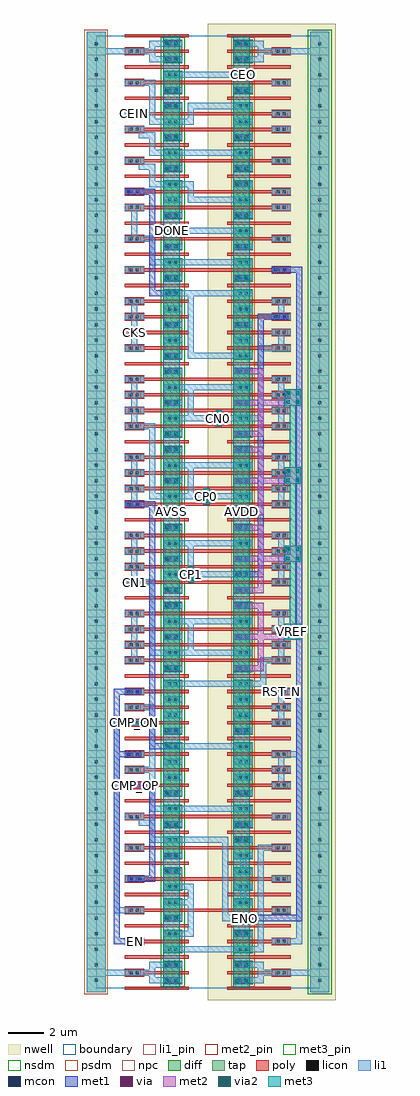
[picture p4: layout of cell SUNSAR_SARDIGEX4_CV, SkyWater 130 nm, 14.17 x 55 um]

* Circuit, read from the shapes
.subckt SUNSAR_SARDIGEX4_CV AVDD AVSS CEIN CEO CKS CMP_ON CMP_OP CN0 CN1 CP0 CP1 DONE EN ENO RST_N VREF
XM1 AVSS AVSS AVSS AVSS sky130_fd_pr__nfet_01v8 w=1.08 l=0.18 m=2
XM2 SUNSAR_SARMRYX1_CV_29/SUNSAR_SAREMX1_CV_8/SUNSAR_NCHDL_11/D EN SUNSAR_SARMRYX1_CV_29/SUNSAR_SAREMX1_CV_8/SUNSAR_NCHDL_9/G AVSS sky130_fd_pr__nfet_01v8 w=1.08 l=0.18
XM3 SUNSAR_SARMRYX1_CV_29/SUNSAR_SAREMX1_CV_8/SUNSAR_NCHDL_11/D CMP_ON AVSS AVSS sky130_fd_pr__nfet_01v8 w=1.08 l=0.18
XM4 AVSS CMP_OP SUNSAR_SARMRYX1_CV_29/SUNSAR_SAREMX1_CV_8/SUNSAR_NCHDL_11/D AVSS sky130_fd_pr__nfet_01v8 w=1.08 l=0.18
XM5 ENO SUNSAR_SARMRYX1_CV_29/SUNSAR_SAREMX1_CV_8/SUNSAR_NCHDL_9/G AVSS AVSS sky130_fd_pr__nfet_01v8 w=1.08 l=0.18
XM6 SUNSAR_SARMRYX1_CV_29/SUNSAR_SARLTX1_CV_5/LCK_N ENO AVSS AVSS sky130_fd_pr__nfet_01v8 w=1.08 l=0.18
XM7 SUNSAR_SARMRYX1_CV_29/SUNSAR_SARLTX1_CV_6/SUNSAR_NCHDL_7/D CMP_OP AVSS AVSS sky130_fd_pr__nfet_01v8 w=1.08 l=0.18
XM8 SUNSAR_SARMRYX1_CV_29/SUNSAR_SARLTX1_CV_6/SUNSAR_NCHDL_6/D SUNSAR_SARMRYX1_CV_29/SUNSAR_SARLTX1_CV_5/LCK_N SUNSAR_SARMRYX1_CV_29/SUNSAR_SARLTX1_CV_6/SUNSAR_NCHDL_7/D AVSS sky130_fd_pr__nfet_01v8 w=1.08 l=0.18
XM9 SUNSAR_SWX4_CV_26/A EN SUNSAR_SARMRYX1_CV_29/SUNSAR_SARLTX1_CV_6/SUNSAR_NCHDL_6/D AVSS sky130_fd_pr__nfet_01v8 w=1.08 l=0.18
XM10 SUNSAR_SARMRYX1_CV_29/SUNSAR_SARLTX1_CV_5/SUNSAR_NCHDL_7/D CMP_ON AVSS AVSS sky130_fd_pr__nfet_01v8 w=1.08 l=0.18
XM11 SUNSAR_SARMRYX1_CV_29/SUNSAR_SARLTX1_CV_5/SUNSAR_NCHDL_6/D SUNSAR_SARMRYX1_CV_29/SUNSAR_SARLTX1_CV_5/LCK_N SUNSAR_SARMRYX1_CV_29/SUNSAR_SARLTX1_CV_5/SUNSAR_NCHDL_7/D AVSS sky130_fd_pr__nfet_01v8 w=1.08 l=0.18
XM12 SUNSAR_SWX4_CV_28/A EN SUNSAR_SARMRYX1_CV_29/SUNSAR_SARLTX1_CV_5/SUNSAR_NCHDL_6/D AVSS sky130_fd_pr__nfet_01v8 w=1.08 l=0.18
XM13 CN1 SUNSAR_SWX4_CV_28/A AVSS AVSS sky130_fd_pr__nfet_01v8 w=1.08 l=0.18 m=4
XM14 CP1 CN1 AVSS AVSS sky130_fd_pr__nfet_01v8 w=1.08 l=0.18 m=4
XM15 CP0 SUNSAR_SWX4_CV_26/A AVSS AVSS sky130_fd_pr__nfet_01v8 w=1.08 l=0.18 m=4
XM16 CN0 CP0 AVSS AVSS sky130_fd_pr__nfet_01v8 w=1.08 l=0.18 m=4
XM17 SUNSAR_SARCEX1_CV_24/SUNSAR_NCHDL_12/D CKS AVSS AVSS sky130_fd_pr__nfet_01v8 w=1.08 l=0.18 m=2
XM18 SUNSAR_SARCEX1_CV_24/SUNSAR_NCHDL_10/D CKS AVSS AVSS sky130_fd_pr__nfet_01v8 w=1.08 l=0.18
XM19 SUNSAR_NDX1_CV_21/B CKS SUNSAR_SARCEX1_CV_24/SUNSAR_NCHDL_10/D AVSS sky130_fd_pr__nfet_01v8 w=1.08 l=0.18
XM20 SUNSAR_IVX1_CV_22/A ENO AVSS AVSS sky130_fd_pr__nfet_01v8 w=1.08 l=0.18
XM21 DONE SUNSAR_IVX1_CV_22/A AVSS AVSS sky130_fd_pr__nfet_01v8 w=1.08 l=0.18
XM22 SUNSAR_NDX1_CV_21/SUNSAR_NCHDL_6/D SUNSAR_IVX1_CV_22/A AVSS AVSS sky130_fd_pr__nfet_01v8 w=1.08 l=0.18
XM23 SUNSAR_IVX1_CV_20/A SUNSAR_NDX1_CV_21/B SUNSAR_NDX1_CV_21/SUNSAR_NCHDL_6/D AVSS sky130_fd_pr__nfet_01v8 w=1.08 l=0.18
XM24 SUNSAR_NRX1_CV_19/A SUNSAR_IVX1_CV_20/A AVSS AVSS sky130_fd_pr__nfet_01v8 w=1.08 l=0.18
XM25 SUNSAR_IVX1_CV_18/A SUNSAR_NRX1_CV_19/A AVSS AVSS sky130_fd_pr__nfet_01v8 w=1.08 l=0.18
XM26 AVSS CEIN SUNSAR_IVX1_CV_18/A AVSS sky130_fd_pr__nfet_01v8 w=1.08 l=0.18
XM27 CEO SUNSAR_IVX1_CV_18/A AVSS AVSS sky130_fd_pr__nfet_01v8 w=1.08 l=0.18
XM28 AVDD AVDD AVDD AVDD sky130_fd_pr__pfet_01v8 w=1.08 l=0.18 m=2
XM29 AVDD RST_N SUNSAR_SARMRYX1_CV_29/SUNSAR_SAREMX1_CV_8/SUNSAR_NCHDL_9/G AVDD sky130_fd_pr__pfet_01v8 w=1.08 l=0.18
XM30 SUNSAR_SARMRYX1_CV_29/SUNSAR_SAREMX1_CV_8/SUNSAR_PCHDL_7/D CMP_ON ENO AVDD sky130_fd_pr__pfet_01v8 w=1.08 l=0.18
XM31 SUNSAR_SARMRYX1_CV_29/SUNSAR_SAREMX1_CV_8/SUNSAR_PCHDL_6/D CMP_OP SUNSAR_SARMRYX1_CV_29/SUNSAR_SAREMX1_CV_8/SUNSAR_PCHDL_7/D AVDD sky130_fd_pr__pfet_01v8 w=1.08 l=0.18
XM32 AVDD SUNSAR_SARMRYX1_CV_29/SUNSAR_SAREMX1_CV_8/SUNSAR_NCHDL_9/G SUNSAR_SARMRYX1_CV_29/SUNSAR_SAREMX1_CV_8/SUNSAR_PCHDL_6/D AVDD sky130_fd_pr__pfet_01v8 w=1.08 l=0.18
XM33 SUNSAR_SARMRYX1_CV_29/SUNSAR_SARLTX1_CV_5/LCK_N ENO AVDD AVDD sky130_fd_pr__pfet_01v8 w=1.08 l=0.18
XM34 SUNSAR_SARMRYX1_CV_29/SUNSAR_SARLTX1_CV_6/SUNSAR_PCHDL_4/D RST_N AVDD AVDD sky130_fd_pr__pfet_01v8 w=1.08 l=0.18
XM35 SUNSAR_SARMRYX1_CV_29/SUNSAR_SARLTX1_CV_6/SUNSAR_PCHDL_3/D RST_N SUNSAR_SARMRYX1_CV_29/SUNSAR_SARLTX1_CV_6/SUNSAR_PCHDL_4/D AVDD sky130_fd_pr__pfet_01v8 w=1.08 l=0.18
XM36 SUNSAR_SWX4_CV_26/A RST_N SUNSAR_SARMRYX1_CV_29/SUNSAR_SARLTX1_CV_6/SUNSAR_PCHDL_3/D AVDD sky130_fd_pr__pfet_01v8 w=1.08 l=0.18
XM37 SUNSAR_SARMRYX1_CV_29/SUNSAR_SARLTX1_CV_5/SUNSAR_PCHDL_4/D RST_N AVDD AVDD sky130_fd_pr__pfet_01v8 w=1.08 l=0.18
XM38 SUNSAR_SARMRYX1_CV_29/SUNSAR_SARLTX1_CV_5/SUNSAR_PCHDL_3/D RST_N SUNSAR_SARMRYX1_CV_29/SUNSAR_SARLTX1_CV_5/SUNSAR_PCHDL_4/D AVDD sky130_fd_pr__pfet_01v8 w=1.08 l=0.18
XM39 SUNSAR_SWX4_CV_28/A RST_N SUNSAR_SARMRYX1_CV_29/SUNSAR_SARLTX1_CV_5/SUNSAR_PCHDL_3/D AVDD sky130_fd_pr__pfet_01v8 w=1.08 l=0.18
XM40 CN1 SUNSAR_SWX4_CV_28/A VREF AVDD sky130_fd_pr__pfet_01v8 w=1.08 l=0.18 m=4
XM41 CP1 CN1 VREF AVDD sky130_fd_pr__pfet_01v8 w=1.08 l=0.18 m=4
XM42 CP0 SUNSAR_SWX4_CV_26/A VREF AVDD sky130_fd_pr__pfet_01v8 w=1.08 l=0.18 m=4
XM43 CN0 CP0 VREF AVDD sky130_fd_pr__pfet_01v8 w=1.08 l=0.18 m=4
XM44 SUNSAR_SARCEX1_CV_24/SUNSAR_PCHDL_8/D CN0 SUNSAR_NDX1_CV_21/B AVDD sky130_fd_pr__pfet_01v8 w=1.08 l=0.18
XM45 AVDD CN0 SUNSAR_SARCEX1_CV_24/SUNSAR_PCHDL_8/D AVDD sky130_fd_pr__pfet_01v8 w=1.08 l=0.18
XM46 SUNSAR_SARCEX1_CV_24/SUNSAR_PCHDL_6/D CP1 AVDD AVDD sky130_fd_pr__pfet_01v8 w=1.08 l=0.18
XM47 SUNSAR_NDX1_CV_21/B CP1 SUNSAR_SARCEX1_CV_24/SUNSAR_PCHDL_6/D AVDD sky130_fd_pr__pfet_01v8 w=1.08 l=0.18
XM48 SUNSAR_IVX1_CV_22/A ENO AVDD AVDD sky130_fd_pr__pfet_01v8 w=1.08 l=0.18
XM49 DONE SUNSAR_IVX1_CV_22/A AVDD AVDD sky130_fd_pr__pfet_01v8 w=1.08 l=0.18
XM50 SUNSAR_IVX1_CV_20/A SUNSAR_IVX1_CV_22/A AVDD AVDD sky130_fd_pr__pfet_01v8 w=1.08 l=0.18
XM51 AVDD SUNSAR_NDX1_CV_21/B SUNSAR_IVX1_CV_20/A AVDD sky130_fd_pr__pfet_01v8 w=1.08 l=0.18
XM52 SUNSAR_NRX1_CV_19/A SUNSAR_IVX1_CV_20/A AVDD AVDD sky130_fd_pr__pfet_01v8 w=1.08 l=0.18
XM53 SUNSAR_NRX1_CV_19/SUNSAR_PCHDL_4/D SUNSAR_NRX1_CV_19/A AVDD AVDD sky130_fd_pr__pfet_01v8 w=1.08 l=0.18
XM54 SUNSAR_IVX1_CV_18/A CEIN SUNSAR_NRX1_CV_19/SUNSAR_PCHDL_4/D AVDD sky130_fd_pr__pfet_01v8 w=1.08 l=0.18
XM55 CEO SUNSAR_IVX1_CV_18/A AVDD AVDD sky130_fd_pr__pfet_01v8 w=1.08 l=0.18
.ends

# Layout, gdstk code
import gdstk
lib = gdstk.Library(unit=1e-6, precision=1e-09)
def R(c, l, rs):  # rectangles x0, y0, x1, y1
    for r in rs: c.add(gdstk.rectangle(r[:2], r[2:], *l))
def A(c, l, x, y, w, h, nx, ny, dx, dy):  # array of equal rectangles
    R(c, l, [(x+i*dx, y+j*dy, x+i*dx+w, y+j*dy+h) for i in range(nx) for j in range(ny)])
nwell = (64, 20)
diff = (65, 20)
tap = (65, 44)
poly = (66, 20)
licon = (66, 44)
li1_pin = (67, 16)
li1 = (67, 20)
mcon = (67, 44)
met1 = (68, 20)
via = (68, 44)
met2_pin = (69, 16)
met2 = (69, 20)
via2 = (69, 44)
met3_pin = (70, 16)
met3 = (70, 20)
nsdm = (93, 44)
psdm = (94, 20)
npc = (95, 20)
boundary = (235, 4)

sunsar_cut_m2m3_2x1 = lib.new_cell('SUNSAR_cut_M2M3_2x1')
R(sunsar_cut_m2m3_2x1, met1, [(0,0,0.92,0.34)])
R(sunsar_cut_m2m3_2x1, via, [(0.125,0.095,0.275,0.245), (0.645,0.095,0.795,0.245)])
R(sunsar_cut_m2m3_2x1, met2, [(0,0,0.92,0.34)])
R(sunsar_cut_m2m3_2x1, boundary, [(0,0,0.92,0.34)])

sunsar_cut_m1m4_1x2 = lib.new_cell('SUNSAR_cut_M1M4_1x2')
R(sunsar_cut_m1m4_1x2, li1, [(0,0,0.34,0.92)])
R(sunsar_cut_m1m4_1x2, mcon, [(0.085,0.115,0.255,0.285), (0.085,0.635,0.255,0.805)])
R(sunsar_cut_m1m4_1x2, met1, [(0,0,0.34,0.92)])
R(sunsar_cut_m1m4_1x2, via, [(0.095,0.125,0.245,0.275), (0.095,0.645,0.245,0.795)])
R(sunsar_cut_m1m4_1x2, met2, [(0,0,0.34,0.92)])
R(sunsar_cut_m1m4_1x2, via2, [(0.07,0.1,0.27,0.3), (0.07,0.62,0.27,0.82)])
R(sunsar_cut_m1m4_1x2, met3, [(0,0,0.34,0.92)])
R(sunsar_cut_m1m4_1x2, boundary, [(0,0,0.34,0.92)])

sunsar_cut_m1m4_2x1 = lib.new_cell('SUNSAR_cut_M1M4_2x1')
R(sunsar_cut_m1m4_2x1, li1, [(0,0,0.92,0.34)])
R(sunsar_cut_m1m4_2x1, mcon, [(0.115,0.085,0.285,0.255), (0.635,0.085,0.805,0.255)])
R(sunsar_cut_m1m4_2x1, met1, [(0,0,0.92,0.34)])
R(sunsar_cut_m1m4_2x1, via, [(0.125,0.095,0.275,0.245), (0.645,0.095,0.795,0.245)])
R(sunsar_cut_m1m4_2x1, met2, [(0,0,0.92,0.34)])
R(sunsar_cut_m1m4_2x1, via2, [(0.1,0.07,0.3,0.27), (0.62,0.07,0.82,0.27)])
R(sunsar_cut_m1m4_2x1, met3, [(0,0,0.92,0.34)])
R(sunsar_cut_m1m4_2x1, boundary, [(0,0,0.92,0.34)])

sunsar_cut_m1m2_2x1 = lib.new_cell('SUNSAR_cut_M1M2_2x1')
R(sunsar_cut_m1m2_2x1, li1, [(0,0,0.92,0.34)])
R(sunsar_cut_m1m2_2x1, mcon, [(0.115,0.085,0.285,0.255), (0.635,0.085,0.805,0.255)])
R(sunsar_cut_m1m2_2x1, met1, [(0,0,0.92,0.34)])
R(sunsar_cut_m1m2_2x1, boundary, [(0,0,0.92,0.34)])

sunsar_pchdl = lib.new_cell('SUNSAR_PCHDL')
R(sunsar_pchdl, nwell, [(0,-0.66,7.2,2.42)])
R(sunsar_pchdl, diff, [(1.44,0.22,2.52,1.54)])
R(sunsar_pchdl, tap, [(5.76,-0.22,6.84,1.98)])
A(sunsar_pchdl, poly, 1.08, -0.09, 3.6, 0.18, 1, 3, 0, 0.88)
R(sunsar_pchdl, poly, [(3.6,0.66,4.68,0.79), (3.6,0.97,4.68,1.1)])
R(sunsar_pchdl, licon, [(1.725,0.355,1.895,0.525), (2.065,0.355,2.235,0.525), (6.215,0.355,6.385,0.525), (3.885,0.795,4.055,0.965), (4.225,0.795,4.395,0.965), (1.725,1.235,1.895,1.405), (2.065,1.235,2.235,1.405), (6.215,1.235,6.385,1.405)])
R(sunsar_pchdl, li1_pin, [(1.44,0.27,2.52,0.61), (5.76,0.66,6.84,1.1), (3.6,0.71,4.68,1.05), (1.44,1.15,2.52,1.49)])
R(sunsar_pchdl, li1, [(5.76,-0.22,6.84,1.98), (1.44,0.27,2.52,0.61), (3.6,0.71,4.68,1.05), (1.44,1.15,2.52,1.49)])
R(sunsar_pchdl, nsdm, [(5.635,-0.345,6.965,2.105)])
R(sunsar_pchdl, psdm, [(1.315,0.095,2.645,1.665)])
R(sunsar_pchdl, npc, [(3.785,0.695,4.495,1.065)])
R(sunsar_pchdl, boundary, [(0,0,6.3,1.76)])
sunsar_pchdl.add(gdstk.Label('D', (1.98,1.32), layer=67, texttype=5))
sunsar_pchdl.add(gdstk.Label('G', (4.14,0.88), layer=67, texttype=5))
sunsar_pchdl.add(gdstk.Label('S', (1.98,0.44), layer=67, texttype=5))
sunsar_pchdl.add(gdstk.Label('B', (6.3,0.88), layer=67, texttype=5))

sunsar_nchdl = lib.new_cell('SUNSAR_NCHDL')
R(sunsar_nchdl, diff, [(3.78,0.22,4.86,1.54)])
R(sunsar_nchdl, tap, [(-0.54,-0.22,0.54,1.98)])
A(sunsar_nchdl, poly, 1.62, -0.09, 3.6, 0.18, 1, 3, 0, 0.88)
R(sunsar_nchdl, poly, [(1.62,0.66,2.7,0.79), (1.62,0.97,2.7,1.1)])
R(sunsar_nchdl, licon, [(-0.085,0.355,0.085,0.525), (4.065,0.355,4.235,0.525), (4.405,0.355,4.575,0.525), (1.905,0.795,2.075,0.965), (2.245,0.795,2.415,0.965), (-0.085,1.235,0.085,1.405), (4.065,1.235,4.235,1.405), (4.405,1.235,4.575,1.405)])
R(sunsar_nchdl, li1_pin, [(3.78,0.27,4.86,0.61), (-0.54,0.66,0.54,1.1), (1.62,0.71,2.7,1.05), (3.78,1.15,4.86,1.49)])
R(sunsar_nchdl, li1, [(-0.54,-0.22,0.54,1.98), (3.78,0.27,4.86,0.61), (1.62,0.71,2.7,1.05), (3.78,1.15,4.86,1.49)])
R(sunsar_nchdl, nsdm, [(3.655,0.095,4.985,1.665)])
R(sunsar_nchdl, psdm, [(-0.665,-0.345,0.665,2.105)])
R(sunsar_nchdl, npc, [(1.805,0.695,2.515,1.065)])
R(sunsar_nchdl, boundary, [(0,0,6.3,1.76)])
sunsar_nchdl.add(gdstk.Label('D', (4.32,1.32), layer=67, texttype=5))
sunsar_nchdl.add(gdstk.Label('G', (2.16,0.88), layer=67, texttype=5))
sunsar_nchdl.add(gdstk.Label('S', (4.32,0.44), layer=67, texttype=5))
sunsar_nchdl.add(gdstk.Label('B', (0,0.88), layer=67, texttype=5))

sunsar_tapcellb_cv = lib.new_cell('SUNSAR_TAPCELLB_CV')
R(sunsar_tapcellb_cv, li1, [(3,0.27,4.32,0.61), (8.28,0.27,9.46,0.61), (3,0.61,3.34,0.71), (9.12,0.61,9.46,0.71), (-0.54,0.71,3.34,1.05), (9.12,0.71,13.14,1.05), (3,1.05,3.34,1.15), (9.12,1.05,9.46,1.15), (3,1.15,4.32,1.49), (8.28,1.15,9.46,1.49)])
R(sunsar_tapcellb_cv, met3_pin, [(3.78,0,4.7,1.76), (7.74,0,8.66,1.76)])
R(sunsar_tapcellb_cv, met3, [(3.78,0,4.7,1.76), (7.74,0,8.66,1.76)])
R(sunsar_tapcellb_cv, boundary, [(0,0,12.6,1.76)])
sunsar_tapcellb_cv.add(gdstk.Reference(sunsar_cut_m1m4_2x1, (3.78,0.27)))
sunsar_tapcellb_cv.add(gdstk.Reference(sunsar_cut_m1m4_2x1, (3.78,1.15)))
sunsar_tapcellb_cv.add(gdstk.Reference(sunsar_cut_m1m4_2x1, (7.74,0.27)))
sunsar_tapcellb_cv.add(gdstk.Reference(sunsar_cut_m1m4_2x1, (7.74,1.15)))
sunsar_tapcellb_cv.add(gdstk.Reference(sunsar_pchdl, (6.3,0)))
sunsar_tapcellb_cv.add(gdstk.Reference(sunsar_nchdl, (0,0)))
sunsar_tapcellb_cv.add(gdstk.Label('AVDD', (8.2,0.88), layer=70, texttype=5))
sunsar_tapcellb_cv.add(gdstk.Label('AVSS', (4.24,0.88), layer=70, texttype=5))

sunsar_ivx1_cv = lib.new_cell('SUNSAR_IVX1_CV')
R(sunsar_ivx1_cv, poly, [(1.62,0.79,10.98,0.97)])
R(sunsar_ivx1_cv, li1_pin, [(-0.54,0.66,0.54,1.1), (12.06,0.66,13.14,1.1), (1.62,0.71,2.7,1.05), (3.78,1.15,4.86,1.49)])
R(sunsar_ivx1_cv, li1, [(-0.54,0.66,0.54,1.1), (12.06,0.66,13.14,1.1), (1.62,0.71,2.7,1.05), (3.78,1.15,8.28,1.49)])
R(sunsar_ivx1_cv, met3_pin, [(3.78,0,4.7,1.76), (7.74,0,8.66,1.76)])
R(sunsar_ivx1_cv, met3, [(3.78,0,4.7,1.76), (7.74,0,8.66,1.76)])
R(sunsar_ivx1_cv, boundary, [(0,0,12.6,1.76)])
sunsar_ivx1_cv.add(gdstk.Reference(sunsar_cut_m1m4_2x1, (3.78,0.27)))
sunsar_ivx1_cv.add(gdstk.Reference(sunsar_cut_m1m4_2x1, (7.74,0.27)))
sunsar_ivx1_cv.add(gdstk.Reference(sunsar_pchdl, (6.3,0)))
sunsar_ivx1_cv.add(gdstk.Reference(sunsar_nchdl, (0,0)))
sunsar_ivx1_cv.add(gdstk.Label('A', (2.16,0.88), layer=67, texttype=5))
sunsar_ivx1_cv.add(gdstk.Label('Y', (4.32,1.32), layer=67, texttype=5))
sunsar_ivx1_cv.add(gdstk.Label('BULKP', (12.6,0.88), layer=67, texttype=5))
sunsar_ivx1_cv.add(gdstk.Label('BULKN', (0,0.88), layer=67, texttype=5))
sunsar_ivx1_cv.add(gdstk.Label('AVDD', (8.2,0.88), layer=70, texttype=5))
sunsar_ivx1_cv.add(gdstk.Label('AVSS', (4.24,0.88), layer=70, texttype=5))

sunsar_nrx1_cv = lib.new_cell('SUNSAR_NRX1_CV')
R(sunsar_nrx1_cv, poly, [(1.62,0.79,10.98,0.97), (1.62,1.67,10.98,1.85)])
R(sunsar_nrx1_cv, li1_pin, [(-0.54,0.66,0.54,1.1), (12.06,0.66,13.14,1.1), (1.62,0.71,2.7,1.05), (3.78,1.15,4.86,1.49), (1.62,1.59,2.7,1.93)])
R(sunsar_nrx1_cv, li1, [(-0.54,0.66,0.54,1.1), (12.06,0.66,13.14,1.1), (1.62,0.71,2.7,1.05), (3.78,1.15,5.5,1.49), (8.11,1.15,8.45,1.49), (5.16,1.49,5.5,2.03), (1.62,1.59,2.7,1.93), (5.16,2.03,8.28,2.37)])
R(sunsar_nrx1_cv, met3_pin, [(3.78,0,4.7,2.64), (7.74,0,8.66,2.64)])
R(sunsar_nrx1_cv, met3, [(3.78,0,4.7,2.64), (7.74,0,8.66,2.64)])
R(sunsar_nrx1_cv, boundary, [(0,0,12.6,2.64)])
sunsar_nrx1_cv.add(gdstk.Reference(sunsar_cut_m1m4_2x1, (3.78,2.03)))
sunsar_nrx1_cv.add(gdstk.Reference(sunsar_cut_m1m4_2x1, (3.78,0.27)))
sunsar_nrx1_cv.add(gdstk.Reference(sunsar_cut_m1m4_2x1, (7.74,0.27)))
sunsar_nrx1_cv.add(gdstk.Reference(sunsar_pchdl, (6.3,0.88)))
sunsar_nrx1_cv.add(gdstk.Reference(sunsar_pchdl, (6.3,0)))
sunsar_nrx1_cv.add(gdstk.Reference(sunsar_nchdl, (0,0.88)))
sunsar_nrx1_cv.add(gdstk.Reference(sunsar_nchdl, (0,0)))
sunsar_nrx1_cv.add(gdstk.Label('A', (2.16,0.88), layer=67, texttype=5))
sunsar_nrx1_cv.add(gdstk.Label('B', (2.16,1.76), layer=67, texttype=5))
sunsar_nrx1_cv.add(gdstk.Label('Y', (4.32,1.32), layer=67, texttype=5))
sunsar_nrx1_cv.add(gdstk.Label('BULKP', (12.6,0.88), layer=67, texttype=5))
sunsar_nrx1_cv.add(gdstk.Label('BULKN', (0,0.88), layer=67, texttype=5))
sunsar_nrx1_cv.add(gdstk.Label('AVDD', (8.2,1.32), layer=70, texttype=5))
sunsar_nrx1_cv.add(gdstk.Label('AVSS', (4.24,1.32), layer=70, texttype=5))

sunsar_ndx1_cv = lib.new_cell('SUNSAR_NDX1_CV')
R(sunsar_ndx1_cv, poly, [(1.62,0.79,10.98,0.97), (1.62,1.67,10.98,1.85)])
R(sunsar_ndx1_cv, li1_pin, [(-0.54,0.66,0.54,1.1), (12.06,0.66,13.14,1.1), (1.62,0.71,2.7,1.05), (1.62,1.59,2.7,1.93), (3.78,2.03,4.86,2.37)])
R(sunsar_ndx1_cv, li1, [(-0.54,0.66,0.54,1.1), (12.06,0.66,13.14,1.1), (1.62,0.71,2.7,1.05), (4.15,1.15,4.49,1.49), (5.16,1.15,8.28,1.49), (5.16,1.49,5.5,2.03), (1.62,1.59,2.7,1.93), (3.78,2.03,5.5,2.37)])
R(sunsar_ndx1_cv, met3_pin, [(3.78,0,4.7,2.64), (7.74,0,8.66,2.64)])
R(sunsar_ndx1_cv, met3, [(3.78,0,4.7,2.64), (7.74,0,8.66,2.64)])
R(sunsar_ndx1_cv, boundary, [(0,0,12.6,2.64)])
sunsar_ndx1_cv.add(gdstk.Reference(sunsar_cut_m1m4_2x1, (3.78,0.27)))
sunsar_ndx1_cv.add(gdstk.Reference(sunsar_cut_m1m4_2x1, (7.74,2.03)))
sunsar_ndx1_cv.add(gdstk.Reference(sunsar_cut_m1m4_2x1, (7.74,0.27)))
sunsar_ndx1_cv.add(gdstk.Reference(sunsar_pchdl, (6.3,0.88)))
sunsar_ndx1_cv.add(gdstk.Reference(sunsar_pchdl, (6.3,0)))
sunsar_ndx1_cv.add(gdstk.Reference(sunsar_nchdl, (0,0.88)))
sunsar_ndx1_cv.add(gdstk.Reference(sunsar_nchdl, (0,0)))
sunsar_ndx1_cv.add(gdstk.Label('A', (2.16,0.88), layer=67, texttype=5))
sunsar_ndx1_cv.add(gdstk.Label('B', (2.16,1.76), layer=67, texttype=5))
sunsar_ndx1_cv.add(gdstk.Label('Y', (4.32,2.2), layer=67, texttype=5))
sunsar_ndx1_cv.add(gdstk.Label('BULKP', (12.6,0.88), layer=67, texttype=5))
sunsar_ndx1_cv.add(gdstk.Label('BULKN', (0,0.88), layer=67, texttype=5))
sunsar_ndx1_cv.add(gdstk.Label('AVDD', (8.2,1.32), layer=70, texttype=5))
sunsar_ndx1_cv.add(gdstk.Label('AVSS', (4.24,1.32), layer=70, texttype=5))

sunsar_sarcex1_cv = lib.new_cell('SUNSAR_SARCEX1_CV')
R(sunsar_sarcex1_cv, li1_pin, [(-0.54,0.66,0.54,1.1), (12.06,0.66,13.14,1.1), (9.9,0.71,10.98,1.05), (1.62,1.59,2.7,1.93), (9.9,2.47,10.98,2.81), (3.78,3.79,4.86,4.13)])
A(sunsar_sarcex1_cv, li1, 4.15, 1.15, 0.34, 0.34, 1, 3, 0, 0.88)
A(sunsar_sarcex1_cv, li1, 8.11, 1.15, 0.34, 0.34, 1, 3, 0, 0.88)
R(sunsar_sarcex1_cv, li1, [(5.16,0.27,8.28,0.61), (5.16,0.61,5.5,3.79), (-0.54,0.66,0.54,1.1), (12.06,0.66,13.14,1.1), (1.99,0.71,2.33,1.59), (9.9,0.71,10.98,1.05), (10.27,1.05,10.61,1.93), (1.62,1.59,2.7,1.93), (1.99,1.93,2.33,3.69), (9.9,2.47,10.98,2.81), (10.27,2.81,10.61,3.69), (3.78,3.79,8.28,4.13)])
R(sunsar_sarcex1_cv, met3_pin, [(3.78,0,4.7,4.4), (7.74,0,8.66,4.4)])
R(sunsar_sarcex1_cv, met3, [(3.78,0,4.7,4.4), (7.74,0,8.66,4.4)])
R(sunsar_sarcex1_cv, boundary, [(0,0,12.6,4.4)])
sunsar_sarcex1_cv.add(gdstk.Reference(sunsar_cut_m1m4_2x1, (3.78,2.03)))
sunsar_sarcex1_cv.add(gdstk.Reference(sunsar_cut_m1m4_2x1, (3.78,2.03)))
sunsar_sarcex1_cv.add(gdstk.Reference(sunsar_cut_m1m4_2x1, (3.78,0.27)))
sunsar_sarcex1_cv.add(gdstk.Reference(sunsar_cut_m1m4_2x1, (7.74,2.03)))
sunsar_sarcex1_cv.add(gdstk.Reference(sunsar_cut_m1m4_2x1, (7.74,2.03)))
sunsar_sarcex1_cv.add(gdstk.Reference(sunsar_pchdl, (6.3,2.64)))
sunsar_sarcex1_cv.add(gdstk.Reference(sunsar_pchdl, (6.3,1.76)))
sunsar_sarcex1_cv.add(gdstk.Reference(sunsar_pchdl, (6.3,0.88)))
sunsar_sarcex1_cv.add(gdstk.Reference(sunsar_pchdl, (6.3,0)))
sunsar_sarcex1_cv.add(gdstk.Reference(sunsar_nchdl, (0,2.64)))
sunsar_sarcex1_cv.add(gdstk.Reference(sunsar_nchdl, (0,1.76)))
sunsar_sarcex1_cv.add(gdstk.Reference(sunsar_nchdl, (0,0.88)))
sunsar_sarcex1_cv.add(gdstk.Reference(sunsar_nchdl, (0,0)))
sunsar_sarcex1_cv.add(gdstk.Label('A', (10.44,0.88), layer=67, texttype=5))
sunsar_sarcex1_cv.add(gdstk.Label('B', (10.44,2.64), layer=67, texttype=5))
sunsar_sarcex1_cv.add(gdstk.Label('Y', (4.32,3.96), layer=67, texttype=5))
sunsar_sarcex1_cv.add(gdstk.Label('RST', (2.16,1.76), layer=67, texttype=5))
sunsar_sarcex1_cv.add(gdstk.Label('BULKP', (12.6,0.88), layer=67, texttype=5))
sunsar_sarcex1_cv.add(gdstk.Label('BULKN', (0,0.88), layer=67, texttype=5))
sunsar_sarcex1_cv.add(gdstk.Label('AVDD', (8.2,2.2), layer=70, texttype=5))
sunsar_sarcex1_cv.add(gdstk.Label('AVSS', (4.24,2.2), layer=70, texttype=5))

sunsar_cut_m1m3_2x1 = lib.new_cell('SUNSAR_cut_M1M3_2x1')
R(sunsar_cut_m1m3_2x1, li1, [(0,0,0.92,0.34)])
R(sunsar_cut_m1m3_2x1, mcon, [(0.115,0.085,0.285,0.255), (0.635,0.085,0.805,0.255)])
R(sunsar_cut_m1m3_2x1, met1, [(0,0,0.92,0.34)])
R(sunsar_cut_m1m3_2x1, via, [(0.125,0.095,0.275,0.245), (0.645,0.095,0.795,0.245)])
R(sunsar_cut_m1m3_2x1, met2, [(0,0,0.92,0.34)])
R(sunsar_cut_m1m3_2x1, boundary, [(0,0,0.92,0.34)])

sunsar_cut_m3m4_2x2 = lib.new_cell('SUNSAR_cut_M3M4_2x2')
R(sunsar_cut_m3m4_2x2, met2, [(0,0,0.92,0.92)])
R(sunsar_cut_m3m4_2x2, via2, [(0.1,0.1,0.3,0.3), (0.62,0.1,0.82,0.3), (0.1,0.62,0.3,0.82), (0.62,0.62,0.82,0.82)])
R(sunsar_cut_m3m4_2x2, met3, [(0,0,0.92,0.92)])
R(sunsar_cut_m3m4_2x2, boundary, [(0,0,0.92,0.92)])

sunsar_swx4_cv = lib.new_cell('SUNSAR_SWX4_CV')
A(sunsar_swx4_cv, poly, 1.62, 0.79, 9.36, 0.18, 1, 4, 0, 0.88)
R(sunsar_swx4_cv, li1_pin, [(-0.54,0.66,0.54,1.1), (12.06,0.66,13.14,1.1), (1.62,0.71,2.7,1.05), (3.78,1.15,4.86,1.49)])
R(sunsar_swx4_cv, li1, [(-0.54,0.66,0.54,1.1), (12.06,0.66,13.14,1.1), (1.62,0.71,2.7,1.05), (10.27,0.71,10.61,3.69), (1.99,1.05,2.33,3.69), (3.78,1.15,8.45,1.49), (5.16,1.49,5.5,2.91), (4.15,2.03,4.49,2.37), (8.11,2.03,8.45,2.37), (4.15,2.91,8.45,3.25)])
R(sunsar_swx4_cv, met2, [(8.28,0.27,9.46,0.61), (9.12,0.61,9.46,2.03), (8.28,2.03,11.08,2.37), (9.12,2.37,9.46,3.79), (8.28,3.79,9.46,4.13)])
R(sunsar_swx4_cv, met3_pin, [(3.78,0,4.7,4.4), (10.62,2.03,11.54,2.95)])
R(sunsar_swx4_cv, met3, [(3.78,0,4.7,4.4), (10.62,2.03,11.54,2.95)])
R(sunsar_swx4_cv, boundary, [(0,0,12.6,4.4)])
sunsar_swx4_cv.add(gdstk.Reference(sunsar_cut_m1m4_2x1, (3.78,3.79)))
sunsar_swx4_cv.add(gdstk.Reference(sunsar_cut_m1m4_2x1, (3.78,2.03)))
sunsar_swx4_cv.add(gdstk.Reference(sunsar_cut_m1m4_2x1, (3.78,2.03)))
sunsar_swx4_cv.add(gdstk.Reference(sunsar_cut_m1m4_2x1, (3.78,0.27)))
sunsar_swx4_cv.add(gdstk.Reference(sunsar_cut_m1m3_2x1, (7.74,3.79)))
sunsar_swx4_cv.add(gdstk.Reference(sunsar_cut_m1m3_2x1, (7.74,2.03)))
sunsar_swx4_cv.add(gdstk.Reference(sunsar_cut_m1m3_2x1, (7.74,0.27)))
sunsar_swx4_cv.add(gdstk.Reference(sunsar_cut_m3m4_2x2, (10.62,2.03)))
sunsar_swx4_cv.add(gdstk.Reference(sunsar_pchdl, (6.3,2.64)))
sunsar_swx4_cv.add(gdstk.Reference(sunsar_pchdl, (6.3,1.76)))
sunsar_swx4_cv.add(gdstk.Reference(sunsar_pchdl, (6.3,0.88)))
sunsar_swx4_cv.add(gdstk.Reference(sunsar_pchdl, (6.3,0)))
sunsar_swx4_cv.add(gdstk.Reference(sunsar_nchdl, (0,2.64)))
sunsar_swx4_cv.add(gdstk.Reference(sunsar_nchdl, (0,1.76)))
sunsar_swx4_cv.add(gdstk.Reference(sunsar_nchdl, (0,0.88)))
sunsar_swx4_cv.add(gdstk.Reference(sunsar_nchdl, (0,0)))
sunsar_swx4_cv.add(gdstk.Label('A', (2.16,0.88), layer=67, texttype=5))
sunsar_swx4_cv.add(gdstk.Label('Y', (4.32,1.32), layer=67, texttype=5))
sunsar_swx4_cv.add(gdstk.Label('VREF', (11.08,2.49), layer=70, texttype=5))
sunsar_swx4_cv.add(gdstk.Label('AVSS', (4.24,2.2), layer=70, texttype=5))
sunsar_swx4_cv.add(gdstk.Label('BULKP', (12.6,0.88), layer=67, texttype=5))
sunsar_swx4_cv.add(gdstk.Label('BULKN', (0,0.88), layer=67, texttype=5))

sunsar_sarltx1_cv = lib.new_cell('SUNSAR_SARLTX1_CV')
A(sunsar_sarltx1_cv, li1_pin, 1.62, 0.71, 1.08, 0.34, 1, 3, 0, 0.88)
R(sunsar_sarltx1_cv, li1_pin, [(-0.54,0.66,0.54,1.1), (12.06,0.66,13.14,1.1), (9.9,2.47,10.98,2.81), (3.78,2.91,4.86,3.25)])
A(sunsar_sarltx1_cv, li1, 1.62, 0.71, 1.08, 0.34, 1, 3, 0, 0.88)
R(sunsar_sarltx1_cv, li1, [(-0.54,0.66,0.54,1.1), (12.06,0.66,13.14,1.1), (10.27,0.71,10.61,2.47), (4.15,1.15,4.49,1.49), (8.11,1.15,8.45,1.49), (4.15,2.03,4.49,2.37), (8.11,2.03,8.45,2.37), (9.9,2.47,10.98,2.81), (3.78,2.91,8.28,3.25)])
R(sunsar_sarltx1_cv, met3_pin, [(3.78,0,4.7,3.52), (7.74,0,8.66,3.52)])
R(sunsar_sarltx1_cv, met3, [(3.78,0,4.7,3.52), (7.74,0,8.66,3.52)])
R(sunsar_sarltx1_cv, boundary, [(0,0,12.6,3.52)])
sunsar_sarltx1_cv.add(gdstk.Reference(sunsar_cut_m1m4_2x1, (3.78,0.27)))
sunsar_sarltx1_cv.add(gdstk.Reference(sunsar_cut_m1m4_2x1, (7.74,0.27)))
sunsar_sarltx1_cv.add(gdstk.Reference(sunsar_pchdl, (6.3,1.76)))
sunsar_sarltx1_cv.add(gdstk.Reference(sunsar_pchdl, (6.3,0.88)))
sunsar_sarltx1_cv.add(gdstk.Reference(sunsar_pchdl, (6.3,0)))
sunsar_sarltx1_cv.add(gdstk.Reference(sunsar_nchdl, (0,1.76)))
sunsar_sarltx1_cv.add(gdstk.Reference(sunsar_nchdl, (0,0.88)))
sunsar_sarltx1_cv.add(gdstk.Reference(sunsar_nchdl, (0,0)))
sunsar_sarltx1_cv.add(gdstk.Label('A', (2.16,0.88), layer=67, texttype=5))
sunsar_sarltx1_cv.add(gdstk.Label('CHL', (4.32,3.08), layer=67, texttype=5))
sunsar_sarltx1_cv.add(gdstk.Label('RST_N', (10.44,2.64), layer=67, texttype=5))
sunsar_sarltx1_cv.add(gdstk.Label('EN', (2.16,2.64), layer=67, texttype=5))
sunsar_sarltx1_cv.add(gdstk.Label('LCK_N', (2.16,1.76), layer=67, texttype=5))
sunsar_sarltx1_cv.add(gdstk.Label('BULKP', (12.6,0.88), layer=67, texttype=5))
sunsar_sarltx1_cv.add(gdstk.Label('BULKN', (0,0.88), layer=67, texttype=5))
sunsar_sarltx1_cv.add(gdstk.Label('AVDD', (8.2,1.76), layer=70, texttype=5))
sunsar_sarltx1_cv.add(gdstk.Label('AVSS', (4.24,1.76), layer=70, texttype=5))

sunsar_saremx1_cv = lib.new_cell('SUNSAR_SAREMX1_CV')
A(sunsar_saremx1_cv, poly, 1.62, 2.55, 9.36, 0.18, 1, 3, 0, 1.76)
A(sunsar_saremx1_cv, li1_pin, 1.62, 0.71, 1.08, 0.34, 1, 3, 0, 1.76)
R(sunsar_saremx1_cv, li1_pin, [(-0.54,0.66,0.54,1.1), (12.06,0.66,13.14,1.1), (9.9,0.71,10.98,1.05), (7.74,2.03,8.82,2.37)])
A(sunsar_saremx1_cv, li1, 1.62, 0.71, 1.08, 0.34, 1, 3, 0, 1.76)
R(sunsar_saremx1_cv, li1, [(3.78,0.27,9.46,0.61), (9.12,0.61,9.46,5.99), (-0.54,0.66,0.54,1.1), (12.06,0.66,13.14,1.1), (9.9,0.71,10.98,1.05), (4.32,1.15,5.5,1.49), (5.16,1.49,5.5,2.91), (7.1,2.03,8.82,2.37), (7.1,2.37,7.44,6.43), (4.32,2.91,5.5,3.25), (8.11,2.91,8.45,4.13), (5.16,3.25,5.5,3.79), (4.32,3.79,5.5,4.13), (8.11,4.67,8.45,5.89), (9.12,5.99,10.44,6.33), (4.32,6.43,7.44,6.77)])
R(sunsar_saremx1_cv, met3_pin, [(3.78,0,4.7,7.04), (7.74,0,8.66,7.04)])
R(sunsar_saremx1_cv, met3, [(3.78,0,4.7,7.04), (7.74,0,8.66,7.04)])
A(sunsar_saremx1_cv, nsdm, 3.655, 1.665, 1.33, 0.19, 1, 3, 0, 1.76)
A(sunsar_saremx1_cv, psdm, 7.615, 1.665, 1.33, 0.19, 1, 3, 0, 1.76)
R(sunsar_saremx1_cv, boundary, [(0,0,12.6,7.04)])
sunsar_saremx1_cv.add(gdstk.Reference(sunsar_cut_m1m4_2x1, (3.78,5.55)))
sunsar_saremx1_cv.add(gdstk.Reference(sunsar_cut_m1m4_2x1, (3.78,4.67)))
sunsar_saremx1_cv.add(gdstk.Reference(sunsar_cut_m1m4_2x1, (3.78,2.03)))
sunsar_saremx1_cv.add(gdstk.Reference(sunsar_cut_m1m4_2x1, (7.74,6.43)))
sunsar_saremx1_cv.add(gdstk.Reference(sunsar_cut_m1m4_2x1, (7.74,1.15)))
sunsar_saremx1_cv.add(gdstk.Reference(sunsar_pchdl, (6.3,5.28)))
sunsar_saremx1_cv.add(gdstk.Reference(sunsar_pchdl, (6.3,3.52)))
sunsar_saremx1_cv.add(gdstk.Reference(sunsar_pchdl, (6.3,1.76)))
sunsar_saremx1_cv.add(gdstk.Reference(sunsar_pchdl, (6.3,0)))
sunsar_saremx1_cv.add(gdstk.Reference(sunsar_nchdl, (0,5.28)))
sunsar_saremx1_cv.add(gdstk.Reference(sunsar_nchdl, (0,3.52)))
sunsar_saremx1_cv.add(gdstk.Reference(sunsar_nchdl, (0,1.76)))
sunsar_saremx1_cv.add(gdstk.Reference(sunsar_nchdl, (0,0)))
sunsar_saremx1_cv.add(gdstk.Label('A', (2.16,4.4), layer=67, texttype=5))
sunsar_saremx1_cv.add(gdstk.Label('B', (2.16,2.64), layer=67, texttype=5))
sunsar_saremx1_cv.add(gdstk.Label('EN', (2.16,0.88), layer=67, texttype=5))
sunsar_saremx1_cv.add(gdstk.Label('ENO', (8.28,2.2), layer=67, texttype=5))
sunsar_saremx1_cv.add(gdstk.Label('RST_N', (10.44,0.88), layer=67, texttype=5))
sunsar_saremx1_cv.add(gdstk.Label('BULKP', (12.6,0.88), layer=67, texttype=5))
sunsar_saremx1_cv.add(gdstk.Label('BULKN', (0,0.88), layer=67, texttype=5))
sunsar_saremx1_cv.add(gdstk.Label('AVDD', (8.2,3.52), layer=70, texttype=5))
sunsar_saremx1_cv.add(gdstk.Label('AVSS', (4.24,3.52), layer=70, texttype=5))

sunsar_sarmryx1_cv = lib.new_cell('SUNSAR_SARMRYX1_CV')
R(sunsar_sarmryx1_cv, li1_pin, [(1.62,2.47,2.7,2.81), (7.74,3.79,8.82,4.13), (1.62,11.27,2.7,11.61), (3.78,13.47,4.86,13.81), (1.62,14.79,2.7,15.13), (9.9,16.55,10.98,16.89), (3.78,16.99,4.86,17.33)])
R(sunsar_sarmryx1_cv, li1, [(1.62,2.47,2.7,2.81), (10.44,2.47,11.62,2.81), (11.28,2.81,11.62,13.03), (7.74,3.79,8.82,4.13), (0.98,4.23,2.16,4.57), (0.98,4.57,1.32,14.79), (3,8.19,4.32,8.53), (3,8.53,3.34,9.17), (2.4,9.17,3.34,9.51), (2.36,9.51,2.7,9.85), (3,9.95,4.32,10.29), (3,10.29,3.34,12.15), (1.62,11.27,2.7,11.61), (2.16,12.15,3.34,12.49), (3,12.49,3.34,15.67), (10.44,13.03,11.62,13.37), (11.28,13.37,11.62,16.55), (3.78,13.47,4.86,13.81), (0.98,14.79,2.7,15.13), (2.16,15.67,3.34,16.01), (9.9,16.55,11.62,16.89), (3.78,16.99,4.86,17.33)])
R(sunsar_sarmryx1_cv, met1, [(0.98,2.47,2.16,2.81), (0.98,2.81,1.32,13.03), (2.16,5.99,3.34,6.33), (3,6.33,3.34,11.27), (2.16,11.27,3.34,11.61), (0.98,13.03,2.16,13.37), (0.98,13.37,1.32,16.55), (0.98,16.55,2.16,16.89)])
R(sunsar_sarmryx1_cv, met3_pin, [(3.78,0,4.7,17.6), (7.74,0,8.66,17.6)])
R(sunsar_sarmryx1_cv, met3, [(3.78,0,4.7,17.6), (7.74,0,8.66,17.6)])
R(sunsar_sarmryx1_cv, nsdm, [(3.655,1.665,4.985,1.855), (3.655,8.705,4.985,8.895), (3.655,10.465,4.985,10.655), (3.655,13.985,4.985,14.175)])
R(sunsar_sarmryx1_cv, psdm, [(7.615,1.665,8.945,1.855), (7.615,8.705,8.945,8.895), (7.615,10.465,8.945,10.655), (7.615,13.985,8.945,14.175)])
R(sunsar_sarmryx1_cv, boundary, [(0,0,12.6,17.6)])
sunsar_sarmryx1_cv.add(gdstk.Reference(sunsar_cut_m1m2_2x1, (1.62,13.03)))
sunsar_sarmryx1_cv.add(gdstk.Reference(sunsar_cut_m1m2_2x1, (1.62,16.55)))
sunsar_sarmryx1_cv.add(gdstk.Reference(sunsar_cut_m1m2_2x1, (1.62,2.47)))
sunsar_sarmryx1_cv.add(gdstk.Reference(sunsar_cut_m1m2_2x1, (1.78,11.27)))
sunsar_sarmryx1_cv.add(gdstk.Reference(sunsar_cut_m1m2_2x1, (1.78,5.99)))
sunsar_sarmryx1_cv.add(gdstk.Reference(sunsar_sarltx1_cv, (0,14.08)))
sunsar_sarmryx1_cv.add(gdstk.Reference(sunsar_sarltx1_cv, (0,10.56)))
sunsar_sarmryx1_cv.add(gdstk.Reference(sunsar_ivx1_cv, (0,8.8)))
sunsar_sarmryx1_cv.add(gdstk.Reference(sunsar_saremx1_cv, (0,1.76)))
sunsar_sarmryx1_cv.add(gdstk.Reference(sunsar_tapcellb_cv, (0,0)))
sunsar_sarmryx1_cv.add(gdstk.Label('CMP_OP', (2.16,11.44), layer=67, texttype=5))
sunsar_sarmryx1_cv.add(gdstk.Label('CMP_ON', (2.16,14.96), layer=67, texttype=5))
sunsar_sarmryx1_cv.add(gdstk.Label('EN', (2.16,2.64), layer=67, texttype=5))
sunsar_sarmryx1_cv.add(gdstk.Label('RST_N', (10.44,16.72), layer=67, texttype=5))
sunsar_sarmryx1_cv.add(gdstk.Label('ENO', (8.28,3.96), layer=67, texttype=5))
sunsar_sarmryx1_cv.add(gdstk.Label('CHL_OP', (4.32,13.64), layer=67, texttype=5))
sunsar_sarmryx1_cv.add(gdstk.Label('CHL_ON', (4.32,17.16), layer=67, texttype=5))
sunsar_sarmryx1_cv.add(gdstk.Label('AVDD', (8.2,8.8), layer=70, texttype=5))
sunsar_sarmryx1_cv.add(gdstk.Label('AVSS', (4.24,8.8), layer=70, texttype=5))

sunsar_sardigex4_cv = lib.new_cell('SUNSAR_SARDIGEX4_CV')
R(sunsar_sardigex4_cv, li1_pin, [(1.62,14.79,2.7,15.13), (9.9,16.55,10.98,16.89), (1.62,36.79,2.7,37.13), (3.78,42.51,4.86,42.85), (1.62,49.11,2.7,49.45), (7.74,51.31,8.82,51.65)])
A(sunsar_sardigex4_cv, li1, 3, 45.15, 1.32, 0.34, 1, 3, 0, 1.76)
R(sunsar_sardigex4_cv, li1, [(1.62,14.79,2.7,15.13), (9.9,16.55,10.98,16.89), (8.28,16.99,9.6,17.33), (9.26,17.33,9.6,18.31), (9.26,18.31,10.44,18.65), (3,18.75,4.32,19.09), (3,19.09,3.34,22.71), (2.16,22.71,3.34,23.05), (3,27.55,4.32,27.89), (3,27.89,3.34,31.51), (2.16,31.51,3.34,31.85), (8.28,31.95,9.46,32.29), (9.12,32.29,9.46,35.91), (9.12,35.91,10.44,36.25), (1.62,36.79,2.7,37.13), (3,40.75,4.32,41.09), (3,41.09,3.34,42.07), (1.99,42.07,3.34,42.41), (1.99,42.41,2.33,44.17), (3.78,42.51,4.86,42.85), (3,45.49,3.34,46.13), (2.4,46.13,3.34,46.47), (2.36,46.47,2.7,46.81), (3,47.25,3.34,47.89), (2.4,47.89,3.34,48.23), (2.36,48.23,2.7,48.57), (3,49.01,3.34,50.87), (1.62,49.11,2.7,49.45), (2.16,50.87,3.34,51.21), (7.74,51.31,8.82,51.65)])
R(sunsar_sardigex4_cv, met1, [(8.28,3.79,11.62,4.13), (11.28,4.13,11.62,40.31), (3,13.47,4.32,13.81), (3,13.81,3.34,27.11), (8.28,23.15,9.46,23.49), (9.12,23.49,9.46,37.67), (2.16,27.11,3.34,27.45), (9.12,37.67,10.44,38.01), (3,38.99,4.32,39.33), (3,39.33,3.34,44.71), (10.44,40.31,11.62,40.65), (2.16,44.71,3.34,45.05)])
R(sunsar_sardigex4_cv, met2_pin, [(1.78,2.47,2.7,2.81), (7.9,3.79,8.82,4.13), (1.78,11.27,2.7,11.61)])
R(sunsar_sardigex4_cv, met2, [(1.78,2.47,2.7,2.81), (7.9,3.79,8.82,4.13), (1.78,11.27,2.7,11.61)])
R(sunsar_sardigex4_cv, met3_pin, [(3.78,0,4.7,53.68), (7.74,0,8.66,53.68), (10.62,19.63,11.54,20.55), (1.78,22.71,2.7,23.05), (5.2,22.86,5.54,23.78), (6.05,27.26,6.39,28.18), (6.73,31.66,7.07,32.58)])
R(sunsar_sardigex4_cv, met3, [(3.78,0,4.7,53.68), (7.74,0,8.66,53.68), (10.62,19.63,11.54,20.55), (10.91,20.55,11.25,33.75), (1.78,22.71,2.7,23.05), (5.2,22.86,5.54,23.78), (6.05,27.26,6.39,28.18), (6.73,31.66,7.07,32.58)])
A(sunsar_sardigex4_cv, nsdm, 3.655, 17.505, 1.33, 0.19, 1, 6, 0, 4.4)
R(sunsar_sardigex4_cv, nsdm, [(3.655,41.265,4.985,41.455), (3.655,43.025,4.985,43.215), (3.655,45.665,4.985,45.855), (3.655,47.425,4.985,47.615), (3.655,50.065,4.985,50.255), (3.655,51.825,4.985,52.015)])
A(sunsar_sardigex4_cv, psdm, 7.615, 17.505, 1.33, 0.19, 1, 6, 0, 4.4)
R(sunsar_sardigex4_cv, psdm, [(7.615,41.265,8.945,41.455), (7.615,43.025,8.945,43.215), (7.615,45.665,8.945,45.855), (7.615,47.425,8.945,47.615), (7.615,50.065,8.945,50.255), (7.615,51.825,8.945,52.015)])
R(sunsar_sardigex4_cv, boundary, [(0,0,12.6,53.68)])
sunsar_sardigex4_cv.add(gdstk.Reference(sunsar_cut_m2m3_2x1, (1.78,11.27)))
sunsar_sardigex4_cv.add(gdstk.Reference(sunsar_cut_m2m3_2x1, (1.78,11.27)))
sunsar_sardigex4_cv.add(gdstk.Reference(sunsar_cut_m2m3_2x1, (1.78,2.47)))
sunsar_sardigex4_cv.add(gdstk.Reference(sunsar_cut_m2m3_2x1, (1.78,2.47)))
sunsar_sardigex4_cv.add(gdstk.Reference(sunsar_cut_m2m3_2x1, (7.9,3.79)))
sunsar_sardigex4_cv.add(gdstk.Reference(sunsar_cut_m1m4_1x2, (6.73,31.66)))
sunsar_sardigex4_cv.add(gdstk.Reference(sunsar_cut_m1m4_1x2, (6.05,27.26)))
sunsar_sardigex4_cv.add(gdstk.Reference(sunsar_cut_m1m4_1x2, (5.2,22.86)))
sunsar_sardigex4_cv.add(gdstk.Reference(sunsar_cut_m1m4_2x1, (1.78,22.71)))
sunsar_sardigex4_cv.add(gdstk.Reference(sunsar_cut_m1m2_2x1, (9.9,37.67)))
sunsar_sardigex4_cv.add(gdstk.Reference(sunsar_cut_m1m2_2x1, (7.74,23.15)))
sunsar_sardigex4_cv.add(gdstk.Reference(sunsar_cut_m1m2_2x1, (3.78,38.99)))
sunsar_sardigex4_cv.add(gdstk.Reference(sunsar_cut_m1m2_2x1, (1.62,44.71)))
sunsar_sardigex4_cv.add(gdstk.Reference(sunsar_cut_m1m2_2x1, (7.74,3.79)))
sunsar_sardigex4_cv.add(gdstk.Reference(sunsar_cut_m1m2_2x1, (9.9,40.31)))
sunsar_sardigex4_cv.add(gdstk.Reference(sunsar_cut_m1m2_2x1, (3.78,13.47)))
sunsar_sardigex4_cv.add(gdstk.Reference(sunsar_cut_m1m2_2x1, (1.62,27.11)))
sunsar_sardigex4_cv.add(gdstk.Reference(sunsar_tapcellb_cv, (0,51.92)))
sunsar_sardigex4_cv.add(gdstk.Reference(sunsar_ivx1_cv, (0,50.16)))
sunsar_sardigex4_cv.add(gdstk.Reference(sunsar_nrx1_cv, (0,47.52)))
sunsar_sardigex4_cv.add(gdstk.Reference(sunsar_ivx1_cv, (0,45.76)))
sunsar_sardigex4_cv.add(gdstk.Reference(sunsar_ndx1_cv, (0,43.12)))
sunsar_sardigex4_cv.add(gdstk.Reference(sunsar_ivx1_cv, (0,41.36)))
sunsar_sardigex4_cv.add(gdstk.Reference(sunsar_ivx1_cv, (0,39.6)))
sunsar_sardigex4_cv.add(gdstk.Reference(sunsar_sarcex1_cv, (0,35.2)))
sunsar_sardigex4_cv.add(gdstk.Reference(sunsar_swx4_cv, (0,30.8)))
sunsar_sardigex4_cv.add(gdstk.Reference(sunsar_swx4_cv, (0,26.4)))
sunsar_sardigex4_cv.add(gdstk.Reference(sunsar_swx4_cv, (0,22)))
sunsar_sardigex4_cv.add(gdstk.Reference(sunsar_swx4_cv, (0,17.6)))
sunsar_sardigex4_cv.add(gdstk.Reference(sunsar_sarmryx1_cv, (0,0)))
sunsar_sardigex4_cv.add(gdstk.Label('CMP_OP', (2.24,11.44), layer=69, texttype=5))
sunsar_sardigex4_cv.add(gdstk.Label('CMP_ON', (2.16,14.96), layer=67, texttype=5))
sunsar_sardigex4_cv.add(gdstk.Label('EN', (2.24,2.64), layer=69, texttype=5))
sunsar_sardigex4_cv.add(gdstk.Label('RST_N', (10.44,16.72), layer=67, texttype=5))
sunsar_sardigex4_cv.add(gdstk.Label('ENO', (8.36,3.96), layer=69, texttype=5))
sunsar_sardigex4_cv.add(gdstk.Label('DONE', (4.32,42.68), layer=67, texttype=5))
sunsar_sardigex4_cv.add(gdstk.Label('CP0', (6.22,27.72), layer=70, texttype=5))
sunsar_sardigex4_cv.add(gdstk.Label('CP1', (5.37,23.32), layer=70, texttype=5))
sunsar_sardigex4_cv.add(gdstk.Label('CN0', (6.9,32.12), layer=70, texttype=5))
sunsar_sardigex4_cv.add(gdstk.Label('CN1', (2.24,22.88), layer=70, texttype=5))
sunsar_sardigex4_cv.add(gdstk.Label('CEIN', (2.16,49.28), layer=67, texttype=5))
sunsar_sardigex4_cv.add(gdstk.Label('CEO', (8.28,51.48), layer=67, texttype=5))
sunsar_sardigex4_cv.add(gdstk.Label('CKS', (2.16,36.96), layer=67, texttype=5))
sunsar_sardigex4_cv.add(gdstk.Label('VREF', (11.08,20.09), layer=70, texttype=5))
sunsar_sardigex4_cv.add(gdstk.Label('AVDD', (8.2,26.84), layer=70, texttype=5))
sunsar_sardigex4_cv.add(gdstk.Label('AVSS', (4.24,26.84), layer=70, texttype=5))

lib.write_gds('SUNSAR_SARDIGEX4_CV.gds')
